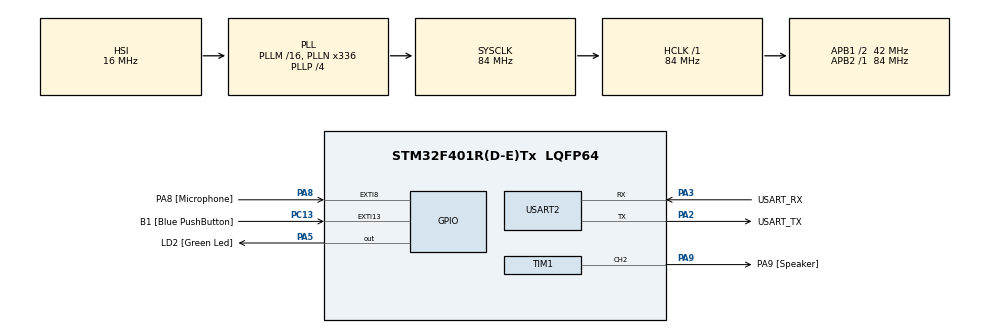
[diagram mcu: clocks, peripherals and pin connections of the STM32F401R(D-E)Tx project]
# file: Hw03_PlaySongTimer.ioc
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Mcu.Family=STM32F4
Mcu.Name=STM32F401R(D-E)Tx
Mcu.Package=LQFP64
NVIC.EXTI9_5_IRQn=true\:0\:0\:false\:false\:true\:true\:true\:true
NVIC.PriorityGroup=NVIC_PRIORITYGROUP_4
NVIC.TIM2_IRQn=true\:0\:0\:false\:false\:true\:true\:true\:true
PA13.GPIO_Label=TMS
PA13.Mode=Trace_Asynchronous_SW
PA13.Signal=SYS_JTMS-SWDIO
PA14.GPIO_Label=TCK
PA14.Mode=Trace_Asynchronous_SW
PA14.Signal=SYS_JTCK-SWCLK
PA2.GPIO_Label=USART_TX
PA2.GPIO_Mode=GPIO_MODE_AF_PP
PA2.GPIO_PuPd=GPIO_NOPULL
PA2.GPIO_Speed=GPIO_SPEED_FREQ_LOW
PA2.Mode=Asynchronous
PA2.Signal=USART2_TX
PA3.GPIO_Label=USART_RX
PA3.GPIO_Mode=GPIO_MODE_AF_PP
PA3.GPIO_PuPd=GPIO_NOPULL
PA3.GPIO_Speed=GPIO_SPEED_FREQ_LOW
PA3.Mode=Asynchronous
PA3.Signal=USART2_RX
PA5.GPIO_Label=LD2 [Green Led]
PA5.GPIO_Mode=GPIO_MODE_OUTPUT_PP
PA5.GPIO_PuPd=GPIO_NOPULL
PA5.GPIO_Speed=GPIO_SPEED_FREQ_LOW
PA5.Signal=GPIO_Output
PA8.GPIO_Label=PA8 [Microphone]
PA8.Signal=GPXTI8
PA9.GPIO_Label=PA9 [Speaker]
PA9.GPIO_Speed=GPIO_SPEED_FREQ_LOW
PA9.Signal=S_TIM1_CH2
PB3.GPIO_Label=SWO
PB3.Mode=Trace_Asynchronous_SW
PB3.Signal=SYS_JTDO-SWO
PC13-ANTI_TAMP.GPIO_Label=B1 [Blue PushButton]
PC13-ANTI_TAMP.GPIO_ModeDefaultEXTI=GPIO_MODE_IT_FALLING
PC13-ANTI_TAMP.GPIO_PuPd=GPIO_NOPULL
PC13-ANTI_TAMP.Signal=GPXTI13
PC14-OSC32_IN.Mode=LSE-External-Oscillator
PC14-OSC32_IN.Signal=RCC_OSC32_IN
PC15-OSC32_OUT.Mode=LSE-External-Oscillator
PC15-OSC32_OUT.Signal=RCC_OSC32_OUT
PH0\ -\ OSC_IN.Mode=HSE-External-Clock-Source
PH0\ -\ OSC_IN.Signal=RCC_OSC_IN
PH1\ -\ OSC_OUT.Mode=HSE-External-Clock-Source
PH1\ -\ OSC_OUT.Signal=RCC_OSC_OUT
ProjectManager.HeapSize=0x200
ProjectManager.StackSize=0x400
ProjectManager.TargetToolchain=STM32CubeIDE
RCC.48MHZClocksFreq_Value=48000000
RCC.AHBFreq_Value=84000000
RCC.APB1CLKDivider=RCC_HCLK_DIV2
RCC.APB1Freq_Value=42000000
RCC.APB1TimFreq_Value=84000000
RCC.APB2Freq_Value=84000000
RCC.APB2TimFreq_Value=84000000
RCC.CortexFreq_Value=84000000
RCC.HCLKFreq_Value=84000000
RCC.HSE_VALUE=8000000
RCC.HSI_VALUE=16000000
RCC.PLLN=336
RCC.PLLP=RCC_PLLP_DIV4
RCC.PLLQ=7
RCC.SYSCLKFreq_VALUE=84000000
RCC.SYSCLKSource=RCC_SYSCLKSOURCE_PLLCLK
RCC.VCOOutputFreq_Value=336000000
SH.S_TIM1_CH2.0=TIM1_CH2,PWM Generation2 CH2
TIM1.Channel-PWM\ Generation2\ CH2=TIM_CHANNEL_2
TIM1.Prescaler=99
TIM2.Prescaler=8399
USART2.VirtualMode=VM_ASYNC
VP_TIM1_VS_ClockSourceINT.Mode=Internal
VP_TIM2_VS_ClockSourceINT.Mode=Internal
board=NUCLEO-F401RE

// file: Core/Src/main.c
/* USER CODE BEGIN Header */
/**
  ******************************************************************************
  * @file           : main.c
  * @brief          : Main program body
  ******************************************************************************
  * @attention
  *
  * Copyright (c) 2025 STMicroelectronics.
  * All rights reserved.
  *
  * This software is licensed under terms that can be found in the LICENSE file
  * in the root directory of this software component.
  * If no LICENSE file comes with this software, it is provided AS-IS.
  *
  ******************************************************************************
  */
/* USER CODE END Header */
#include "main.h"

/* USER CODE BEGIN PTD */
typedef struct {
	uint32_t tone;
	uint32_t duration;
} Note;
/* USER CODE END PTD */

/* USER CODE BEGIN PD */
#define DO 3205
#define DOD 3031
#define RE 2856
#define RED 2700
#define MI 2544
#define FA 2406
#define FAD 2269
#define SOL 2142
#define SOLD 2023
#define LA 1908
#define LAD 1802
#define SI 1699

#define TEMPO 100

#define DEBOUNCE 200
/* USER CODE END PD */

TIM_HandleTypeDef htim1;
TIM_HandleTypeDef htim2;

UART_HandleTypeDef huart2;

/* USER CODE BEGIN PV */
const Note song[24] = {
		{SOL, 3}, {LA, 1}, {SOL, 2}, {FA, 2},
		{MI, 2}, {FA, 2}, {SOL, 4},
		{RE, 2}, {MI, 2}, {FA, 4},
		{MI, 2}, {FA, 2}, {SOL, 4},
		{SOL, 3}, {LA, 1}, {SOL, 2}, {FA, 2},
		{MI, 2}, {FA, 2}, {SOL, 4},
		{RE, 4}, {SOL, 4},
		{MI, 2}, {DO, 6}
};

volatile int currentNote = 0;

volatile uint8_t isPlaying = 0;

volatile uint32_t last_tick = 0;
/* USER CODE END PV */

void SystemClock_Config(void);
static void MX_GPIO_Init(void);
static void MX_USART2_UART_Init(void);
static void MX_TIM1_Init(void);
static void MX_TIM2_Init(void);

/* USER CODE BEGIN 0 */
void startNote(Note n) {
	HAL_TIM_PWM_Stop(&htim1, TIM_CHANNEL_2);
	HAL_TIM_Base_Stop_IT(&htim2);

	int length = sizeof(song)/sizeof(song[0]);
	if(currentNote >= length) {
		isPlaying = 0;
		HAL_GPIO_WritePin(GPIOA, GPIO_PIN_5, GPIO_PIN_RESET);
		currentNote = 0;
		last_tick = HAL_GetTick();
		return;
	}

	__HAL_TIM_SET_AUTORELOAD(&htim1, n.tone);
	__HAL_TIM_SET_COMPARE(&htim1, TIM_CHANNEL_2, n.tone/2);
	__HAL_TIM_SET_COUNTER(&htim1, 0);

	__HAL_TIM_SET_AUTORELOAD(&htim2, n.duration * TEMPO * 10);
	__HAL_TIM_SET_COUNTER(&htim2, 0);

	HAL_TIM_PWM_Start(&htim1, TIM_CHANNEL_2);
	HAL_TIM_Base_Start_IT(&htim2);
}

void playSong() {
	HAL_GPIO_WritePin(GPIOA, GPIO_PIN_5, GPIO_PIN_SET);
	isPlaying = 1;
	startNote(song[currentNote]);
}

void HAL_TIM_PeriodElapsedCallback(TIM_HandleTypeDef *htim) {
	if (htim->Instance == TIM2) {
		startNote(song[++currentNote]);
	}
}

void HAL_GPIO_EXTI_Callback(uint16_t GPIO_Pin) {
	if (GPIO_Pin == GPIO_PIN_8) {
		uint32_t tick = HAL_GetTick();
		uint32_t delta = tick - last_tick;
		if (!isPlaying && delta >= DEBOUNCE) {
			playSong();
		}
	}
}
/* USER CODE END 0 */

int main(void)
{

  /* MCU Configuration--------------------------------------------------------*/

  /* Reset of all peripherals, Initializes the Flash interface and the Systick. */
  HAL_Init();

  /* Configure the system clock */
  SystemClock_Config();

  /* Initialize all configured peripherals */
  MX_GPIO_Init();
  MX_USART2_UART_Init();
  MX_TIM1_Init();
  MX_TIM2_Init();

  /* Infinite loop */
  while (1)
  {

  }
}

void SystemClock_Config(void)
{
  RCC_OscInitTypeDef RCC_OscInitStruct = {0};
  RCC_ClkInitTypeDef RCC_ClkInitStruct = {0};

  /** Configure the main internal regulator output voltage
  */
  __HAL_RCC_PWR_CLK_ENABLE();
  __HAL_PWR_VOLTAGESCALING_CONFIG(PWR_REGULATOR_VOLTAGE_SCALE2);

  /** Initializes the RCC Oscillators according to the specified parameters
  * in the RCC_OscInitTypeDef structure.
  */
  RCC_OscInitStruct.OscillatorType = RCC_OSCILLATORTYPE_HSI;
  RCC_OscInitStruct.HSIState = RCC_HSI_ON;
  RCC_OscInitStruct.HSICalibrationValue = RCC_HSICALIBRATION_DEFAULT;
  RCC_OscInitStruct.PLL.PLLState = RCC_PLL_ON;
  RCC_OscInitStruct.PLL.PLLSource = RCC_PLLSOURCE_HSI;
  RCC_OscInitStruct.PLL.PLLM = 16;
  RCC_OscInitStruct.PLL.PLLN = 336;
  RCC_OscInitStruct.PLL.PLLP = RCC_PLLP_DIV4;
  RCC_OscInitStruct.PLL.PLLQ = 7;
  if (HAL_RCC_OscConfig(&RCC_OscInitStruct) != HAL_OK)
  {
    Error_Handler();
  }

  /** Initializes the CPU, AHB and APB buses clocks
  */
  RCC_ClkInitStruct.ClockType = RCC_CLOCKTYPE_HCLK|RCC_CLOCKTYPE_SYSCLK
                              |RCC_CLOCKTYPE_PCLK1|RCC_CLOCKTYPE_PCLK2;
  RCC_ClkInitStruct.SYSCLKSource = RCC_SYSCLKSOURCE_PLLCLK;
  RCC_ClkInitStruct.AHBCLKDivider = RCC_SYSCLK_DIV1;
  RCC_ClkInitStruct.APB1CLKDivider = RCC_HCLK_DIV2;
  RCC_ClkInitStruct.APB2CLKDivider = RCC_HCLK_DIV1;

  if (HAL_RCC_ClockConfig(&RCC_ClkInitStruct, FLASH_LATENCY_2) != HAL_OK)
  {
    Error_Handler();
  }
}

static void MX_TIM1_Init(void)
{

  TIM_ClockConfigTypeDef sClockSourceConfig = {0};
  TIM_MasterConfigTypeDef sMasterConfig = {0};
  TIM_OC_InitTypeDef sConfigOC = {0};
  TIM_BreakDeadTimeConfigTypeDef sBreakDeadTimeConfig = {0};

  htim1.Instance = TIM1;
  htim1.Init.Prescaler = 99;
  htim1.Init.CounterMode = TIM_COUNTERMODE_UP;
  htim1.Init.Period = 65535;
  htim1.Init.ClockDivision = TIM_CLOCKDIVISION_DIV1;
  htim1.Init.RepetitionCounter = 0;
  htim1.Init.AutoReloadPreload = TIM_AUTORELOAD_PRELOAD_DISABLE;
  if (HAL_TIM_Base_Init(&htim1) != HAL_OK)
  {
    Error_Handler();
  }
  sClockSourceConfig.ClockSource = TIM_CLOCKSOURCE_INTERNAL;
  if (HAL_TIM_ConfigClockSource(&htim1, &sClockSourceConfig) != HAL_OK)
  {
    Error_Handler();
  }
  if (HAL_TIM_PWM_Init(&htim1) != HAL_OK)
  {
    Error_Handler();
  }
  sMasterConfig.MasterOutputTrigger = TIM_TRGO_RESET;
  sMasterConfig.MasterSlaveMode = TIM_MASTERSLAVEMODE_DISABLE;
  if (HAL_TIMEx_MasterConfigSynchronization(&htim1, &sMasterConfig) != HAL_OK)
  {
    Error_Handler();
  }
  sConfigOC.OCMode = TIM_OCMODE_PWM1;
  sConfigOC.Pulse = 0;
  sConfigOC.OCPolarity = TIM_OCPOLARITY_HIGH;
  sConfigOC.OCNPolarity = TIM_OCNPOLARITY_HIGH;
  sConfigOC.OCFastMode = TIM_OCFAST_DISABLE;
  sConfigOC.OCIdleState = TIM_OCIDLESTATE_RESET;
  sConfigOC.OCNIdleState = TIM_OCNIDLESTATE_RESET;
  if (HAL_TIM_PWM_ConfigChannel(&htim1, &sConfigOC, TIM_CHANNEL_2) != HAL_OK)
  {
    Error_Handler();
  }
  sBreakDeadTimeConfig.OffStateRunMode = TIM_OSSR_DISABLE;
  sBreakDeadTimeConfig.OffStateIDLEMode = TIM_OSSI_DISABLE;
  sBreakDeadTimeConfig.LockLevel = TIM_LOCKLEVEL_OFF;
  sBreakDeadTimeConfig.DeadTime = 0;
  sBreakDeadTimeConfig.BreakState = TIM_BREAK_DISABLE;
  sBreakDeadTimeConfig.BreakPolarity = TIM_BREAKPOLARITY_HIGH;
  sBreakDeadTimeConfig.AutomaticOutput = TIM_AUTOMATICOUTPUT_DISABLE;
  if (HAL_TIMEx_ConfigBreakDeadTime(&htim1, &sBreakDeadTimeConfig) != HAL_OK)
  {
    Error_Handler();
  }
  HAL_TIM_MspPostInit(&htim1);

}

static void MX_TIM2_Init(void)
{

  TIM_ClockConfigTypeDef sClockSourceConfig = {0};
  TIM_MasterConfigTypeDef sMasterConfig = {0};

  htim2.Instance = TIM2;
  htim2.Init.Prescaler = 8399;
  htim2.Init.CounterMode = TIM_COUNTERMODE_UP;
  htim2.Init.Period = 4294967295;
  htim2.Init.ClockDivision = TIM_CLOCKDIVISION_DIV1;
  htim2.Init.AutoReloadPreload = TIM_AUTORELOAD_PRELOAD_DISABLE;
  if (HAL_TIM_Base_Init(&htim2) != HAL_OK)
  {
    Error_Handler();
  }
  sClockSourceConfig.ClockSource = TIM_CLOCKSOURCE_INTERNAL;
  if (HAL_TIM_ConfigClockSource(&htim2, &sClockSourceConfig) != HAL_OK)
  {
    Error_Handler();
  }
  sMasterConfig.MasterOutputTrigger = TIM_TRGO_RESET;
  sMasterConfig.MasterSlaveMode = TIM_MASTERSLAVEMODE_DISABLE;
  if (HAL_TIMEx_MasterConfigSynchronization(&htim2, &sMasterConfig) != HAL_OK)
  {
    Error_Handler();
  }

}

static void MX_USART2_UART_Init(void)
{

  huart2.Instance = USART2;
  huart2.Init.BaudRate = 115200;
  huart2.Init.WordLength = UART_WORDLENGTH_8B;
  huart2.Init.StopBits = UART_STOPBITS_1;
  huart2.Init.Parity = UART_PARITY_NONE;
  huart2.Init.Mode = UART_MODE_TX_RX;
  huart2.Init.HwFlowCtl = UART_HWCONTROL_NONE;
  huart2.Init.OverSampling = UART_OVERSAMPLING_16;
  if (HAL_UART_Init(&huart2) != HAL_OK)
  {
    Error_Handler();
  }

}

static void MX_GPIO_Init(void)
{
  GPIO_InitTypeDef GPIO_InitStruct = {0};

  /* GPIO Ports Clock Enable */
  __HAL_RCC_GPIOC_CLK_ENABLE();
  __HAL_RCC_GPIOH_CLK_ENABLE();
  __HAL_RCC_GPIOA_CLK_ENABLE();
  __HAL_RCC_GPIOB_CLK_ENABLE();

  /*Configure GPIO pin Output Level */
  HAL_GPIO_WritePin(LD2_GPIO_Port, LD2_Pin, GPIO_PIN_RESET);

  /*Configure GPIO pin : B1_Pin */
  GPIO_InitStruct.Pin = B1_Pin;
  GPIO_InitStruct.Mode = GPIO_MODE_IT_FALLING;
  GPIO_InitStruct.Pull = GPIO_NOPULL;
  HAL_GPIO_Init(B1_GPIO_Port, &GPIO_InitStruct);

  /*Configure GPIO pin : LD2_Pin */
  GPIO_InitStruct.Pin = LD2_Pin;
  GPIO_InitStruct.Mode = GPIO_MODE_OUTPUT_PP;
  GPIO_InitStruct.Pull = GPIO_NOPULL;
  GPIO_InitStruct.Speed = GPIO_SPEED_FREQ_LOW;
  HAL_GPIO_Init(LD2_GPIO_Port, &GPIO_InitStruct);

  /*Configure GPIO pin : PA8_Pin */
  GPIO_InitStruct.Pin = PA8_Pin;
  GPIO_InitStruct.Mode = GPIO_MODE_IT_RISING;
  GPIO_InitStruct.Pull = GPIO_NOPULL;
  HAL_GPIO_Init(PA8_GPIO_Port, &GPIO_InitStruct);

  /* EXTI interrupt init*/
  HAL_NVIC_SetPriority(EXTI9_5_IRQn, 0, 0);
  HAL_NVIC_EnableIRQ(EXTI9_5_IRQn);

}

void Error_Handler(void)
{
  __disable_irq();
  while (1)
  {
  }
}
